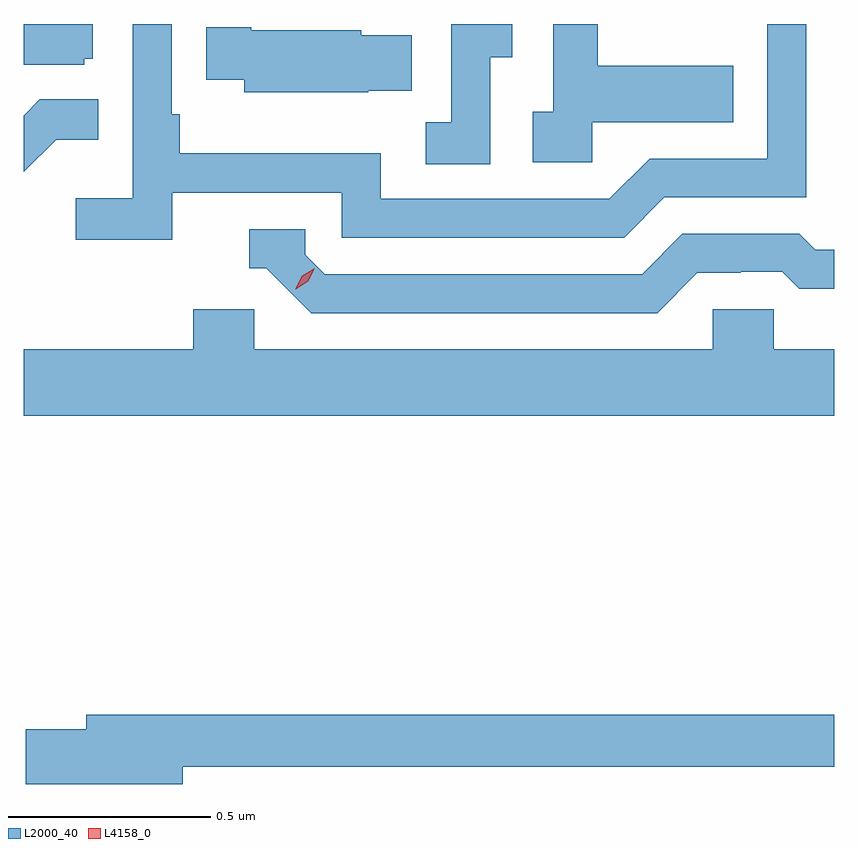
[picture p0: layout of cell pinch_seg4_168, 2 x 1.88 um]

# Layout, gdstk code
import gdstk
lib = gdstk.Library(unit=1e-6, precision=1e-09)
def P(c, l, *ps):  # polygons
    for p in ps: c.add(gdstk.Polygon(p, *l))
L2000_40 = (2000, 40)
L4158_0 = (4158, 0)

pinch_seg4_168 = lib.new_cell('pinch_seg4_168')
P(pinch_seg4_168, L2000_40, [(1115.636,792.042),(1116.054,792.042),(1116.054,791.931),(1116.751,791.931),(1116.85,792.03),(1117.2,792.03),(1117.2,792.458),(1117.104,792.458),(1117.104,792.126),(1116.813,792.126),(1116.714,792.027),(1116.15,792.027),(1116.15,792.139),(1115.654,792.139),(1115.654,792.235),(1115.634,792.235),(1115.634,792.458),(1115.538,792.458),(1115.538,792.028),(1115.397,792.028),(1115.397,791.926),(1115.636,791.926)],
  [(1116.672,792.215),(1117.019,792.215),(1117.019,792.355),(1116.685,792.355),(1116.685,792.458),(1116.576,792.458),(1116.576,792.242),(1116.525,792.242),(1116.525,792.117),(1116.672,792.117)],
  [(1116.42,792.376),(1116.475,792.376),(1116.475,792.458),(1116.324,792.458),(1116.324,792.215),(1116.261,792.215),(1116.261,792.112),(1116.42,792.112)],
  [(1115.418,792.372),(1115.44,792.372),(1115.44,792.458),(1115.269,792.458),(1115.269,792.357),(1115.418,792.357)],
  [(1116.119,792.293),(1116.227,792.293),(1116.227,792.43),(1116.102,792.43),(1116.102,792.442),(1115.83,792.442),(1115.83,792.45),(1115.719,792.45),(1115.719,792.32),(1115.813,792.32),(1115.813,792.29),(1116.119,792.29)],
  [(1115.349,792.173),(1115.453,792.173),(1115.453,792.272),(1115.309,792.272),(1115.269,792.232),(1115.269,792.093)],
  [(1116.931,791.844),(1117.038,791.844),(1117.038,791.847),(1117.141,791.847),(1117.183,791.805),(1117.269,791.805),(1117.269,791.901),(1117.222,791.901),(1117.183,791.94),(1116.894,791.94),(1116.795,791.841),(1116.012,791.841),(1115.964,791.889),(1115.964,791.952),(1115.825,791.952),(1115.825,791.856),(1115.868,791.856),(1115.979,791.745),(1116.832,791.745)],
  [(1117.269,791.656),(1117.119,791.656),(1117.119,791.754),(1116.969,791.754),(1116.969,791.656),(1115.838,791.656),(1115.838,791.754),(1115.687,791.754),(1115.687,791.656),(1115.269,791.656),(1115.269,791.492),(1117.269,791.492)],
  [(1115.662,790.626),(1117.269,790.626),(1117.269,790.754),(1115.423,790.754),(1115.423,790.718),(1115.274,790.718),(1115.274,790.583),(1115.662,790.583)])
P(pinch_seg4_168, L4158_0, [(1115.939,791.804),(1115.939,791.804),(1115.956,791.837),(1115.987,791.856),(1115.987,791.856),(1115.987,791.856),(1115.971,791.823),(1115.94,791.804)])

lib.write_gds('pinch_seg4_168.gds')
